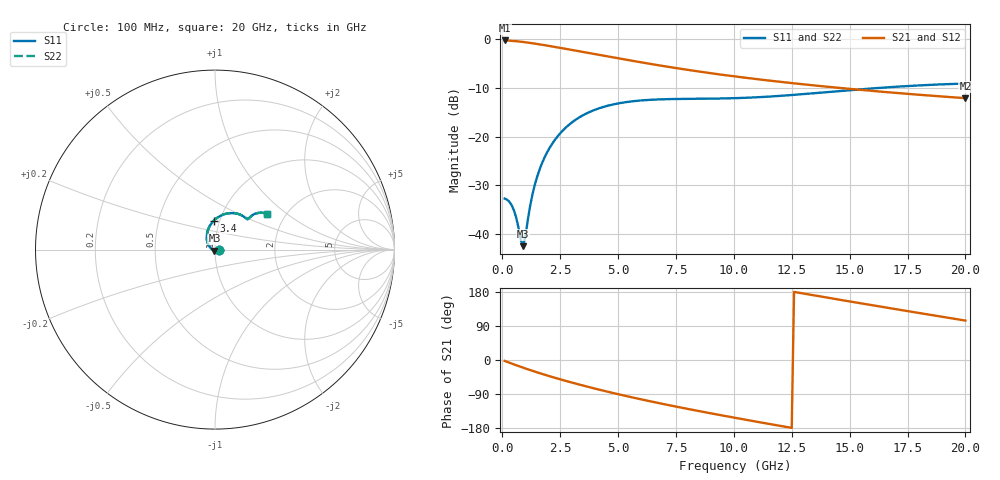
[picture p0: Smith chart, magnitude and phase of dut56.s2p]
! Touchstone file exported from HFSS 2024.1.0
!  File:  C:/UserFiles/LocalFiles/RDL_TSV_Batchsim/temp_RDL_TSV_56_1779408068.aedt
!  Generated:  08:19:18 AM May 22, 2026
!  Design:  RDL_TSV
!  Project:  temp_RDL_TSV_56_1779408068
!  Setup:  Setup1
!  Solution:  Sweep
! Variables:
!  dtsv = 13.1um
!  hbump = 3um
!  htsv = 97.73um
!  ldown = 400.12um
!  lrdl = 531.23um
!  p = 40
!  p1 = 47.63um
!  rhole = 10um
!  subl = 3325.28um
!  t = 450um
!  tdown = 3.51um
!  trdl = 2.45um
!  viad = 10um
!  wdown = 14.49um
!  wrdl = 20.52um
!  xbump = 18um
# GHz S MA R 50.000000
! Terminal data exported
! Port[1] = TM1_1_T1
! Port[2] = TM1_4_T1
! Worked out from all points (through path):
!   200 points, 100 MHz to 20 GHz, reference 50 ohm
!   highest |S21| = -0.21 dB at 100 MHz (marker M1); lowest = -12.1 dB at 20 GHz (marker M2)
!   group delay of S21, straight-line fit = 33.5 ps
!   lowest |S11| = -42.5 dB at 900 MHz (marker M3), VSWR 1.02, Z = 49.7 - j0.681 ohm
!   |S11| at or under -10 dB: start of sweep to 16.18 GHz
!   |S22| runs from -42.5 to -9.1 dB; largest |S21 - S12| = 7.4e-15
!   S11 on the Smith chart (normalised r, x): 100 MHz: 1.05, -0.00; 3.4 GHz: 0.94, +0.31; 20 GHz: 1.62, +0.73
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0.1  0.02312 -4.1  0.976 -2.4  0.976 -2.4  0.02312 -4.1
! Gamma 0 0 0 0
! Port Impedance 50 0 50 0
0.3  0.02152 -13.9  0.9714 -7.0  0.9714 -7.0  0.02152 -13.9
0.5  0.01756 -27.9  0.9636 -11.5  0.9636 -11.5  0.01754 -27.9
0.6  0.01473 -37.8  0.9589 -13.8  0.9589 -13.8  0.01471 -37.8
0.8  0.008703 -75.2  0.9478 -18.1  0.9478 -18.1  0.008681 -75.5
0.9  0.007496 -113.9  0.9417 -20.3  0.9417 -20.3  0.007499 -114.2
1  0.009512 -152.3  0.9352 -22.4  0.9352 -22.4  0.009554 -152.6
1.2  0.01931 171.0  0.9212 -26.5  0.9212 -26.5  0.0194 170.9
1.3  0.02534 161.7  0.9138 -28.6  0.9138 -28.6  0.02546 161.7
1.5  0.03844 148.8  0.8986 -32.5  0.8986 -32.5  0.0386 148.8
1.8  0.05939 135.3  0.875 -38.3  0.875 -38.3  0.05961 135.3
2.1  0.08073 124.6  0.851 -43.9  0.851 -43.9  0.08102 124.6
2.5  0.1084 112.8  0.8192 -51.0  0.8192 -51.0  0.1087 112.8
3.4  0.1619 92.1  0.7503 -66.0  0.7503 -66.0  0.1625 92.1
3.5  0.167 90.1  0.7429 -67.6  0.7429 -67.6  0.1676 90.2
5.1  0.222 66.2  0.634 -91.6  0.634 -91.6  0.223 66.2
6.8  0.242 51.6  0.54 -114.3  0.54 -114.3  0.2432 51.6
8.3  0.2453 45.3  0.4751 -132.5  0.4751 -132.5  0.2467 45.2
10.1  0.2492 42.9  0.415 -153.1  0.415 -153.1  0.2506 42.7
13.4  0.2792 42.8  0.3379 171.3  0.3379 171.3  0.2802 42.6
16.7  0.3227 39.6  0.2859 137.1  0.2859 137.1  0.3233 39.4
20  0.352 34.2  0.2492 104.0  0.2492 104.0  0.3525 34.0
